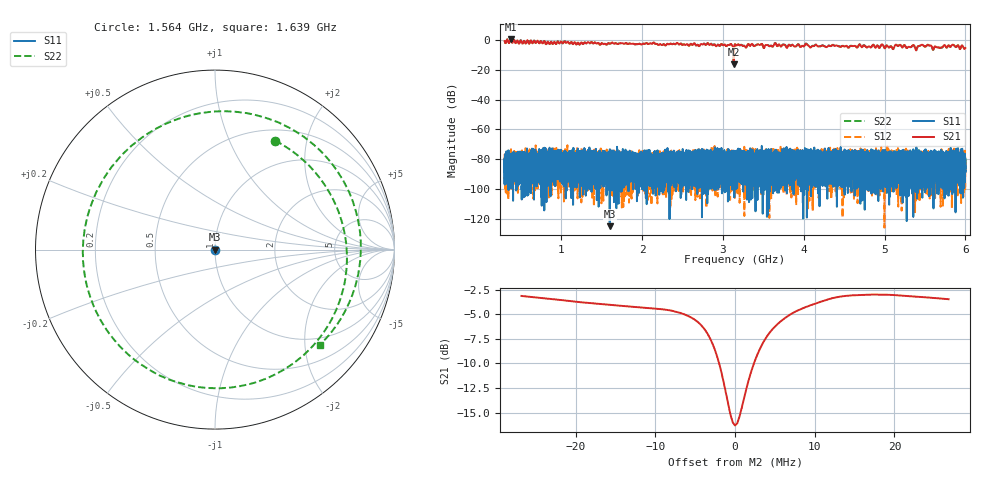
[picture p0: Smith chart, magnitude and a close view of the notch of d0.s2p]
!Agilent Technologies,N5230C,SG49000117,A.08.50.07
!Agilent N5230C: A.08.50.07
!Date: Monday, March 18, 2024 19:21:50
!Correction: S11(Off)
!S21(Off)
!S12(Off)
!S22(Off)
!S2P File: Measurements: S11, S21, S12, S22:
# Hz S  RI  R 50
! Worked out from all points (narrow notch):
!   20001 points, 300 MHz to 6 GHz, reference 50 ohm
!   highest |S21| = 0.45 dB at 374.4 MHz (marker M1); lowest = -16.3 dB at 3.134 GHz (marker M2)
!   notch at M2: 12.9 dB deep, 4.5 MHz wide at half that depth
!   lowest |S11| = -124.8 dB at 1.6 GHz (marker M3), VSWR 1.00, Z = 50 - j4.28e-05 ohm
!   |S11| at or under -10 dB: start of sweep to end of sweep
!   |S22| runs from -16.3 to 0.5 dB; largest |S21 - S12| = 1.1
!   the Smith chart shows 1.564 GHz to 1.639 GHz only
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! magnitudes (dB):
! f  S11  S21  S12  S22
! 300 MHz  -88.3  -0.9  -81.4  -0.9
! 374.4 MHz  -81.7  0.4  -84.0  0.5
! 1.25 GHz  -78.0  -1.7  -84.9  -1.7
! 1.6 GHz  -124.8  -2.7  -92.0  -2.6
! 2.2 GHz  -82.0  -3.4  -88.5  -3.4
! 3.085 GHz  -78.8  -3.3  -81.0  -3.3
! 3.134 GHz  -93.9  -16.3  -83.6  -16.3
! 3.15 GHz  -82.4  -3.0  -83.6  -3.0
! 3.173 GHz  -89.4  -3.8  -81.7  -3.7
! 3.272 GHz  -87.2  -4.3  -82.2  -4.3
! 3.458 GHz  -82.9  -3.5  -98.3  -3.5
! 3.978 GHz  -78.8  -4.1  -75.6  -4.0
! 4.037 GHz  -84.9  -2.9  -78.1  -2.8
! 4.1 GHz  -85.8  -4.3  -86.1  -4.2
! 5.05 GHz  -101.1  -5.1  -86.7  -5.1
! 5.168 GHz  -78.6  -4.1  -80.3  -4.1
! 5.398 GHz  -80.3  -6.2  -86.4  -6.2
! 5.446 GHz  -86.9  -3.7  -83.3  -3.7
! 5.549 GHz  -81.8  -3.8  -93.2  -3.8
! 5.616 GHz  -85.4  -4.9  -80.0  -5.0
! 5.848 GHz  -85.6  -3.3  -82.9  -3.4
! 6 GHz  -87.9  -5.5  -80.2  -5.6
